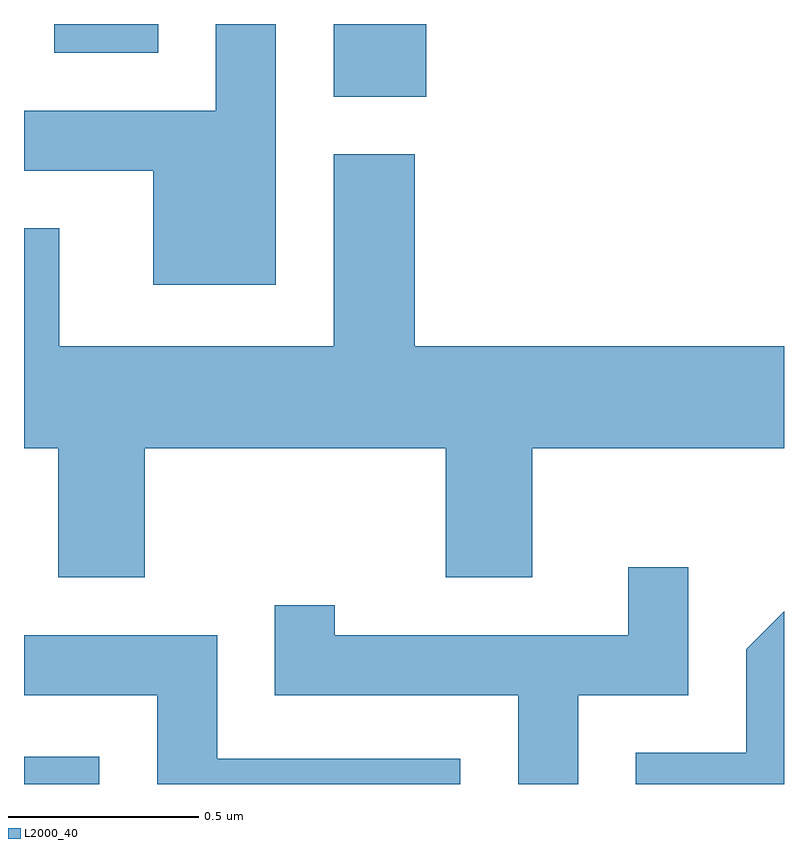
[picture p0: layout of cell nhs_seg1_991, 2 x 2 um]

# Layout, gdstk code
import gdstk
lib = gdstk.Library(unit=1e-6, precision=1e-09)
def R(c, l, rs):  # rectangles x0, y0, x1, y1
    for r in rs: c.add(gdstk.rectangle(r[:2], r[2:], *l))
def P(c, l, *ps):  # polygons
    for p in ps: c.add(gdstk.Polygon(p, *l))
L2000_40 = (2000, 40)

nhs_seg1_991 = lib.new_cell('nhs_seg1_991')
R(nhs_seg1_991, L2000_40, [(192.611,878.712,192.809,878.784), (193.426,880.521,193.669,880.712), (192.691,880.636,192.964,880.712)])
P(nhs_seg1_991, L2000_40, [(193.274,880.712),(193.116,880.712),(193.116,880.484),(192.611,880.484),(192.611,880.326),(192.951,880.326),(192.951,880.026),(193.274,880.026)],
  [(192.929,879.596),(193.721,879.596),(193.721,879.256),(193.949,879.256),(193.949,879.596),(194.611,879.596),(194.611,879.864),(193.639,879.864),(193.639,880.369),(193.426,880.369),(193.426,879.864),(192.704,879.864),(192.704,880.174),(192.611,880.174),(192.611,879.596),(192.701,879.596),(192.701,879.256),(192.929,879.256)],
  [(194.069,878.946),(194.359,878.946),(194.359,879.283),(194.201,879.283),(194.201,879.104),(193.429,879.104),(193.429,879.183),(193.271,879.183),(193.271,878.946),(193.911,878.946),(193.911,878.712),(194.069,878.712)],
  [(194.611,879.166),(194.511,879.067),(194.511,878.794),(194.221,878.794),(194.221,878.712),(194.611,878.712)],
  [(193.759,878.779),(193.119,878.779),(193.119,879.104),(192.611,879.104),(192.611,878.946),(192.961,878.946),(192.961,878.712),(193.759,878.712)])

lib.write_gds('nhs_seg1_991.gds')
